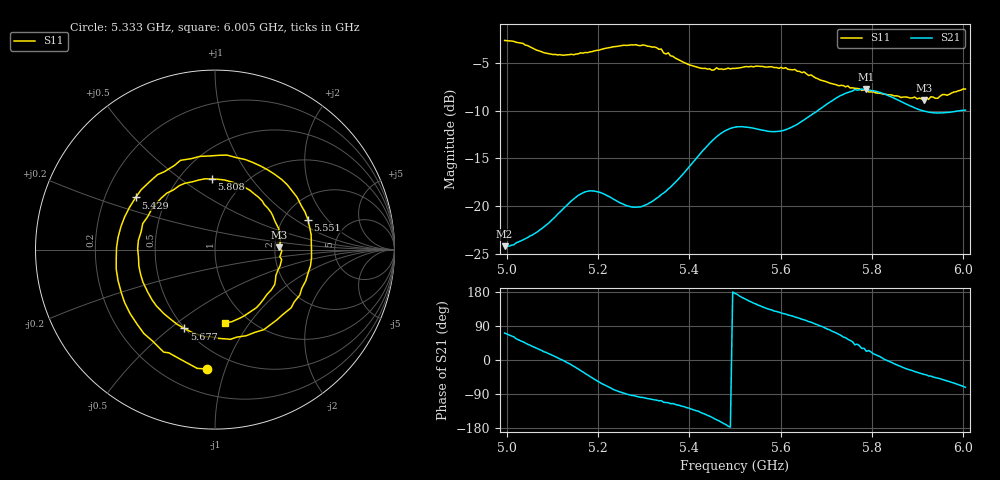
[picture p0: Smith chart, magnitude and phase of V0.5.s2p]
!File created by NanoVNA
# Hz S RI R 50
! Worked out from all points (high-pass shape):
!   201 points, 4.995 GHz to 6.005 GHz, reference 50 ohm
!   highest |S21| = -7.68 dB at 5.788 GHz (marker M1); lowest = -24.2 dB at 4.995 GHz (marker M2)
!   |S21| within 3 dB of the highest: 5.66 GHz to end of sweep
!   lowest |S11| = -8.9 dB at 5.914 GHz (marker M3), VSWR 2.12, Z = 106 + j3.01 ohm
!   |S11| at or under -10 dB: nowhere
!   S12 and S22 are empty: the file has one direction only
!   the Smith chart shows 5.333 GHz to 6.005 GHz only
!   S11 on the Smith chart (normalised r, x): 5.333 GHz: 0.36, -0.87; 5.429 GHz: 0.33, +0.27; 5.551 GHz: 2.70, +1.28; 5.677 GHz: 0.50, -0.56; 5.808 GHz: 0.71, +0.66; 6.005 GHz: 0.78, -0.77
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4.995e9  0.2246 -0.7074  0.0201 0.0581  0 0  0 0
5.03035e9  -0.2826 -0.6619  0.0417 0.0506  0 0  0 0
5.0758e9  -0.6369 -0.1195  0.0685 0.0326  0 0  0 0
5.1263e9  -0.3848 0.4879  0.0982 -0.00508  0 0  0 0
5.1667e9  0.0964 0.6292  0.1 -0.0614  0 0  0 0
5.2172e9  0.5949 0.3205  0.0432 -0.1059  0 0  0 0
5.25255e9  0.693 -0.0851  0.00697 -0.1027  0 0  0 0
5.30305e9  0.363 -0.5983  -0.0177 -0.0996  0 0  0 0
5.33335e9  -0.0458 -0.6651  -0.0341 -0.1068  0 0  0 0
5.3788e9  -0.5025 -0.2974  -0.0702 -0.1222  0 0  0 0
5.4293e9  -0.4419 0.2903  -0.1507 -0.1242  0 0  0 0
5.5e9  0.2084 0.4864  -0.2591 0.02  0 0  0 0
5.5505e9  0.5175 0.1675  -0.2074 0.1459  0 0  0 0
5.6111e9  0.4242 -0.3243  -0.131 0.2152  0 0  0 0
5.6717e9  -0.1238 -0.4635  -0.0391 0.3041  0 0  0 0
5.67675e9  -0.172 -0.439  -0.0242 0.3102  0 0  0 0
5.7323e9  -0.4309 0.00573  0.1611 0.3461  0 0  0 0
5.78785e9  -0.1694 0.3689  0.3803 0.1614  0 0  0 0
5.80805e9  -0.0175 0.3932  0.3899 0.0968  0 0  0 0
5.83835e9  0.1657 0.3466  0.3779 -0.0255  0 0  0 0
5.9141e9  0.3588 0.0124  0.2487 -0.1945  0 0  0 0
6.005e9  0.0533 -0.4089  0.0988 -0.3037  0 0  0 0
